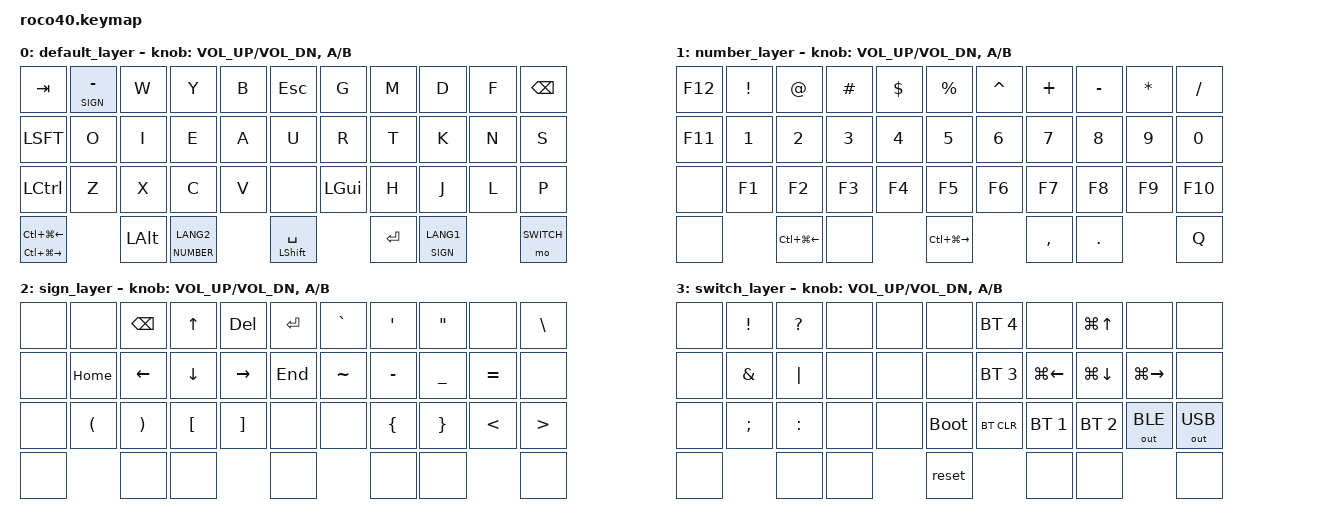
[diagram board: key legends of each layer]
#include <behaviors.dtsi>
#include <dt-bindings/zmk/keys.h>
#include <dt-bindings/zmk/bt.h>
#include <dt-bindings/zmk/outputs.h>

#define DEFAULT 0
#define NUMBER   1
#define SIGN   2
#define SWITCH 3

/ {
    keymap {
        compatible = "zmk,keymap";

        default_layer {
            bindings = <
                &kp TAB         &lt SIGN MINUS &kp W    &kp Y &kp B &kp ESC        &kp G    &kp M &kp D &kp F &kp BSPC
                &kp LSFT        &kp O          &kp I    &kp E &kp A &kp U          &kp R    &kp T &kp K &kp N &kp S
                &kp LCTL        &kp Z          &kp X    &kp C &kp V &none          &kp LGUI &kp H &kp J &kp L &kp P
                &mt LC(LG(RIGHT)) LC(LG(LEFT)) &kp LALT &lt NUMBER LANG2 &mt LSHIFT SPC  &kp ENTER &lt SIGN LANG1 &mo SWITCH
            >;

            sensor-bindings = <&inc_dec_kp C_VOL_UP C_VOL_DN &inc_dec_kp A B>;
        };

        number_layer {
            bindings = <
                &kp F12 &kp EXCLAMATION &kp AT_SIGN &kp HASH &kp DOLLAR &kp PERCENT &kp CARET &kp PLUS &kp MINUS &kp ASTERISK &kp SLASH
                &kp F11 &kp N1          &kp N2      &kp N3   &kp N4     &kp N5      &kp N6    &kp N7   &kp N8    &kp N9       &kp N0
                &none   &kp F1          &kp F2      &kp F3   &kp F4     &kp F5      &kp F6    &kp F7   &kp F8    &kp F9       &kp F10
                &none   &kp LC(LG(LEFT)) &none   &kp LC(LG(RIGHT)) &kp COMMA &kp PERIOD &kp Q
            >;

            sensor-bindings = <&inc_dec_kp C_VOL_UP C_VOL_DN &inc_dec_kp A B>;
        };

        sign_layer {
            bindings = <
                &none &none                 &kp BSPC &kp UP   &kp DEL &kp ENTER &kp GRAVE        &kp SINGLE_QUOTE &kp DOUBLE_QUOTES &none &kp BACKSLASH
                &none &kp HOME              &kp LEFT &kp DOWN &kp RIGHT &kp END   &kp TILDE        &kp MINUS       &kp UNDERSCORE   &kp EQUAL &none
                &none &kp LEFT_PARENTHESIS  &kp RIGHT_PARENTHESIS &kp LEFT_BRACKET &kp RIGHT_BRACKET &none &none &kp LEFT_BRACE &kp RIGHT_BRACE &kp LESS_THAN &kp GREATER_THAN
                &none &none                 &none    &none    &none    &none    &none
            >;

            sensor-bindings = <&inc_dec_kp C_VOL_UP C_VOL_DN &inc_dec_kp A B>;
        };

        switch_layer {
            bindings = <
                    &none &kp EXCLAMATION &kp QUESTION &none &none &none        &bt BT_SEL 4 &none          &kp LG(UP) &none        &none
                    &none &kp AMPERSAND   &kp PIPE     &none &none &none        &bt BT_SEL 3 &kp LG(LEFT)   &kp LG(DOWN) &kp LG(RIGHT) &none
                    &none &kp SEMICOLON &kp COLON &none &none &bootloader  &bt BT_CLR &bt BT_SEL 1 &bt BT_SEL 2 &out OUT_BLE &out OUT_USB
                    &none &none &none &reset &none &none &none
                >;

                sensor-bindings = <&inc_dec_kp C_VOL_UP C_VOL_DN &inc_dec_kp A B>;
            };
    };
};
